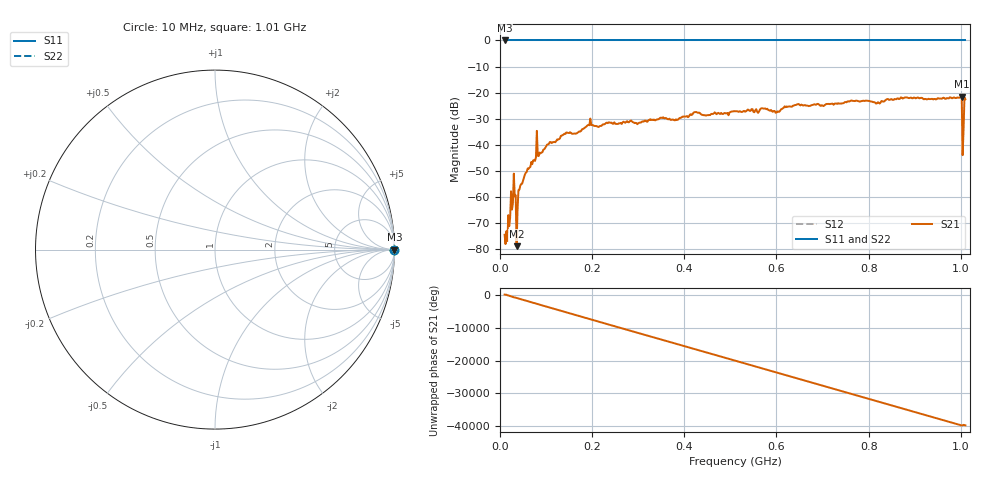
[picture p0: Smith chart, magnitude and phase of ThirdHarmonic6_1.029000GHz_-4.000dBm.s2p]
! 8/16/2025 8:45:05 AM
! C:\ANRITSUVNA\TEMP\TEMP.S2P
! CHANNEL.1
! TR.MEASUREMENT
! RAW.DATA
! RF.CORRECTION.OFF
! AVERAGING.OFF
! IF.BANDWIDTH: 5KHZ
! SWEEPTYPE:  FREQ.SWEEP(Linear)
! Reference Plane Port Info
! PORT:  PORT1  PORT2
! DISTANCE:  0  m  0  m
! TIME:  0  s  0  s
! PHASE.OFFSET:  0  deg.  0  deg.
! LOSS:  0  dB  0  dB
! REF.LOSS:  0  dB  0  dB
! REF.FREQ:  0  Hz  0  Hz
! Power Info
! POWER:  -20  dBm  -20  dBm
! EFF.POWER:  -20  dBm  -20  dBm
! SOURCE.ATTEN:  0  dB  0  dB
! TEST.ATTEN:  0  dB  0  dB
# GHZ S RI R 50.0
! FREQ.GHZ  S11RE  S11IM  S21RE  S21IM  S12RE  S12IM  S22RE  S22IM
!; PortSelection: Port_12
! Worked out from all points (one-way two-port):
!   501 points, 10 MHz to 1.01 GHz, reference 50 ohm
!   highest |S21| = -21.55 dB at 1.002 GHz (marker M1); lowest = -78.9 dB at 36 MHz (marker M2)
!   lowest |S11| = 0.0 dB at 10 MHz (marker M3)
!   |S11| at or under -10 dB: nowhere
!   |S22| runs from 0.0 to 0.0 dB; largest |S21 - S12| = 1.1
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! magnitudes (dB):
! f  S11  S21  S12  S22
! 10 MHz  0.0  -74.6  0.0  0.0
! 16 MHz  0.0  -77.0  0.0  0.0
! 28 MHz  0.0  -62.4  0.0  0.0
! 36 MHz  0.0  -78.9  0.0  0.0
! 40 MHz  0.0  -57.5  0.0  0.0
! 42 MHz  0.0  -57.3  0.0  0.0
! 44 MHz  0.0  -55.7  0.0  0.0
! 82 MHz  0.0  -44.3  0.0  0.0
! 86 MHz  0.0  -43.0  0.0  0.0
! 136 MHz  0.0  -36.3  0.0  0.0
! 178 MHz  0.0  -34.1  0.0  0.0
! 194 MHz  0.0  -32.5  0.0  0.0
! 344 MHz  0.0  -30.2  0.0  0.0
! 510 MHz  0.0  -27.2  0.0  0.0
! 602 MHz  0.0  -27.2  0.0  0.0
! 644 MHz  0.0  -24.6  0.0  0.0
! 678 MHz  0.0  -24.7  0.0  0.0
! 844 MHz  0.0  -22.8  0.0  0.0
! 998 MHz  0.0  -21.9  0.0  0.0
! 1.002 GHz  0.0  -21.6  0.0  0.0
! 1.008 GHz  0.0  -21.9  0.0  0.0
! 1.01 GHz  0.0  -22.5  0.0  0.0
